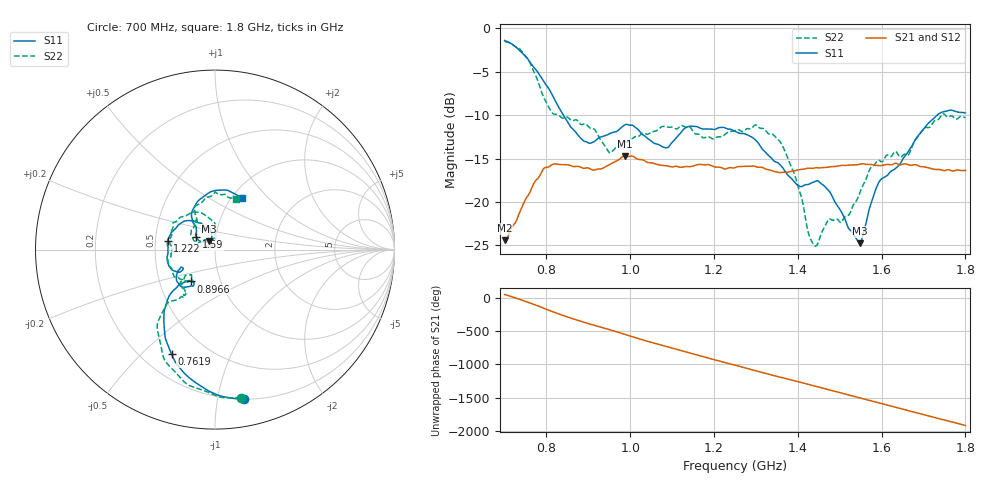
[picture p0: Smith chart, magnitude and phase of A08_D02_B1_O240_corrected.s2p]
! Created with skrf 1.9.0 (http://scikit-rf.org).
# Hz S RI R 50.0
!freq ReS11 ImS11 ReS21 ImS21 ReS12 ImS12 ReS22 ImS22
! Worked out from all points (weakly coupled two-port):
!   1601 points, 700 MHz to 1.8 GHz, reference 50 ohm
!   highest |S21| = -14.70 dB at 986.7 MHz (marker M1); lowest = -24.4 dB at 700 MHz (marker M2)
!   lowest |S11| = -24.7 dB at 1.548 GHz (marker M3), VSWR 1.12, Z = 46.5 + j4.38 ohm
!   |S11| at or under -10 dB: 840.1 MHz to 1.733 GHz (892.6 MHz wide, 69.4 % of centre)
!   |S22| runs from -25.1 to -1.5 dB; largest |S21 - S12| = 0.0034
!   S11 on the Smith chart (normalised r, x): 700 MHz: 0.20, -1.19; 761.9 MHz: 0.32, -0.62; 896.6 MHz: 0.72, -0.27; 1.222 GHz: 0.58, +0.06; 1.59 GHz: 0.81, +0.11; 1.8 GHz: 1.11, +0.72
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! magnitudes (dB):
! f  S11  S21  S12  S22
! 700 MHz  -1.4  -24.4  -24.2  -1.5
! 761.9 MHz  -4.0  -18.7  -18.7  -4.1
! 812.8 MHz  -7.6  -15.7  -15.7  -9.7
! 883.6 MHz  -12.7  -16.0  -15.9  -11.1
! 896.6 MHz  -13.1  -16.1  -16.2  -11.1
! 950.9 MHz  -12.1  -15.7  -15.7  -14.3
! 986.7 MHz  -11.1  -14.7  -14.8  -13.1
! 1.067 GHz  -13.4  -15.7  -15.6  -11.6
! 1.222 GHz  -11.4  -16.1  -16.2  -12.4
! 1.25 GHz  -11.9  -16.1  -16.0  -11.8
! 1.301 GHz  -13.0  -15.9  -15.9  -11.1
! 1.359 GHz  -15.8  -16.6  -16.6  -13.1
! 1.394 GHz  -17.8  -16.4  -16.4  -17.2
! 1.434 GHz  -17.8  -16.1  -16.1  -24.6
! 1.473 GHz  -18.7  -16.0  -16.0  -22.0
! 1.505 GHz  -21.2  -15.8  -15.8  -22.2
! 1.548 GHz  -24.7  -15.7  -15.6  -19.0
! 1.59 GHz  -18.1  -15.8  -15.8  -15.3
! 1.617 GHz  -16.8  -15.7  -15.7  -14.7
! 1.663 GHz  -14.2  -15.7  -15.7  -14.6
! 1.735 GHz  -9.9  -16.3  -16.3  -10.5
! 1.8 GHz  -9.8  -16.4  -16.4  -10.3
